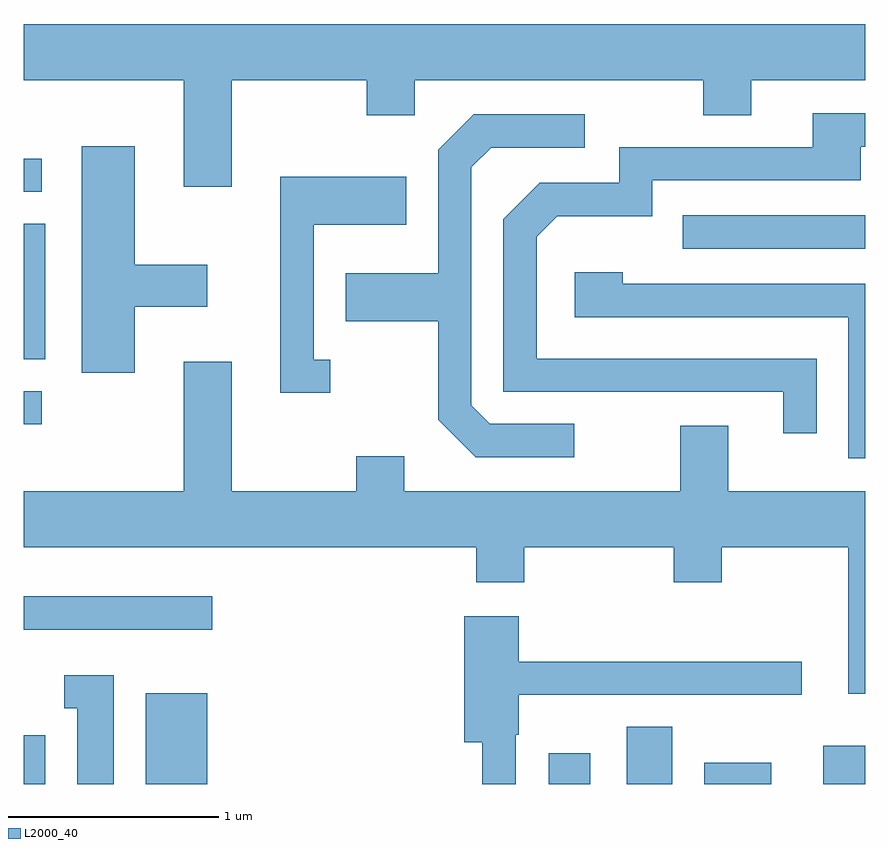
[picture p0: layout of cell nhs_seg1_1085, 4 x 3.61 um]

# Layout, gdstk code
import gdstk
lib = gdstk.Library(unit=1e-6, precision=1e-09)
def R(c, l, rs):  # rectangles x0, y0, x1, y1
    for r in rs: c.add(gdstk.rectangle(r[:2], r[2:], *l))
def P(c, l, *ps):  # polygons
    for p in ps: c.add(gdstk.Polygon(p, *l))
L2000_40 = (2000, 40)

nhs_seg1_1085 = lib.new_cell('nhs_seg1_1085')
R(nhs_seg1_1085, L2000_40, [(217.611,971.712,217.714,971.944), (218.191,971.712,218.484,972.144), (220.106,971.712,220.304,971.859), (220.476,971.712,220.694,971.984), (220.846,971.712,221.164,971.814), (221.411,971.712,221.611,971.894), (217.611,972.446,218.508,972.604), (217.611,973.421,217.698,973.579), (217.611,973.731,217.714,974.374), (220.743,974.256,221.611,974.414), (217.611,974.526,217.698,974.684)])
P(nhs_seg1_1085, L2000_40, [(218.599,975.056),(219.241,975.056),(219.241,974.891),(219.469,974.891),(219.469,975.056),(220.841,975.056),(220.841,974.891),(221.069,974.891),(221.069,975.056),(221.611,975.056),(221.611,975.324),(217.611,975.324),(217.611,975.056),(218.371,975.056),(218.371,974.551),(218.599,974.551)],
  [(221.379,973.734),(220.049,973.734),(220.049,974.314),(220.147,974.411),(220.599,974.411),(220.599,974.581),(221.589,974.581),(221.589,974.741),(221.611,974.741),(221.611,974.899),(221.361,974.899),(221.361,974.739),(220.441,974.739),(220.441,974.569),(220.064,974.569),(219.891,974.397),(219.891,973.576),(221.221,973.576),(221.221,973.378),(221.379,973.378)],
  [(220.228,973.424),(219.827,973.424),(219.739,973.512),(219.739,974.644),(219.832,974.736),(220.278,974.736),(220.278,974.894),(219.749,974.894),(219.581,974.727),(219.581,974.139),(219.141,974.139),(219.141,973.911),(219.581,973.911),(219.581,973.444),(219.759,973.266),(220.228,973.266)],
  [(218.139,973.981),(218.484,973.981),(218.484,974.179),(218.139,974.179),(218.139,974.744),(217.886,974.744),(217.886,973.666),(218.139,973.666)],
  [(219.068,973.729),(218.989,973.729),(218.989,974.371),(219.429,974.371),(219.429,974.599),(218.831,974.599),(218.831,973.571),(219.068,973.571)],
  [(221.611,974.089),(220.459,974.089),(220.459,974.144),(220.231,974.144),(220.231,973.931),(221.531,973.931),(221.531,973.261),(221.611,973.261)],
  [(221.611,973.104),(220.959,973.104),(220.959,973.414),(220.731,973.414),(220.731,973.104),(219.419,973.104),(219.419,973.269),(219.191,973.269),(219.191,973.104),(218.599,973.104),(218.599,973.719),(218.371,973.719),(218.371,973.104),(217.611,973.104),(217.611,972.836),(219.761,972.836),(219.761,972.671),(219.989,972.671),(219.989,972.836),(220.701,972.836),(220.701,972.671),(220.929,972.671),(220.929,972.836),(221.531,972.836),(221.531,972.141),(221.611,972.141)],
  [(219.949,971.945),(219.964,971.945),(219.964,972.136),(221.308,972.136),(221.308,972.294),(219.964,972.294),(219.964,972.509),(219.706,972.509),(219.706,971.911),(219.791,971.911),(219.791,971.712),(219.949,971.712)],
  [(218.039,972.229),(217.803,972.229),(217.803,972.071),(217.866,972.071),(217.866,971.712),(218.039,971.712)])

lib.write_gds('nhs_seg1_1085.gds')
